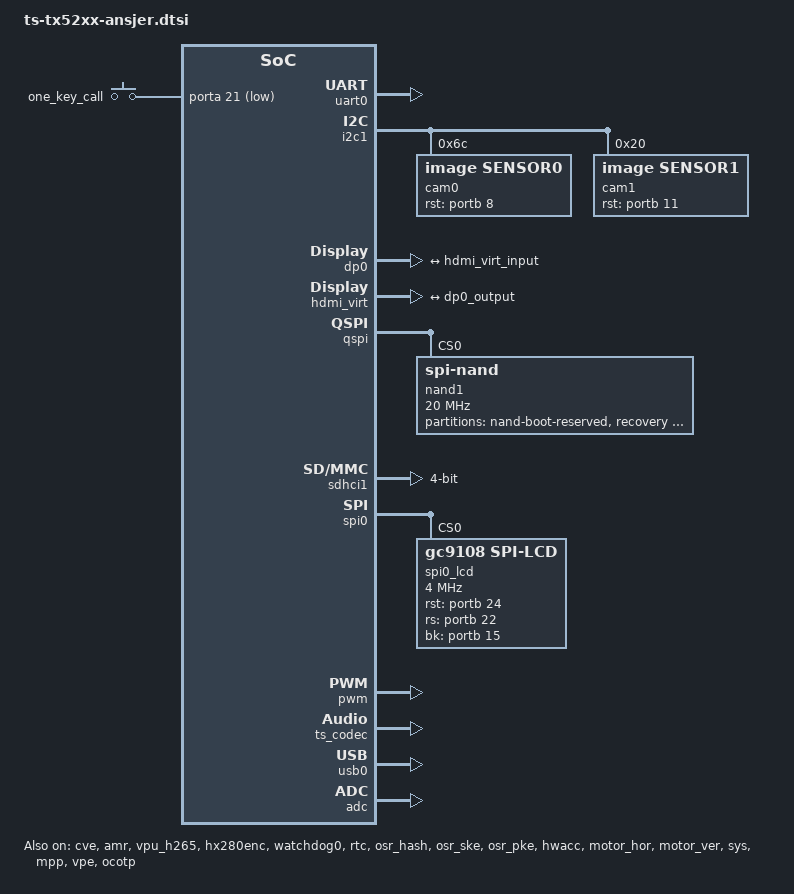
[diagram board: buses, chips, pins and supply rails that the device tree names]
/*
 * dts file for tsingmicro tx511 haps
 *
 * Copyright 2022 Tsingmicro, Inc.
 *
 * This program is free software; you can redistribute it and/or
 * modify it under the terms of the GNU General Public License as
 * published by the Free Software Foundation; either version 2 of
 * the License, or (at your option) any later version.
 */

#include "ts-tx5215.dtsi"
#include "ts-tx5215-clk.dtsi"
#include "ts-tx5215-reset.dtsi"
#include "ts-tx52xx-ansjer-pinctrl.dtsi"

/ {
	chosen {
		/*bootargs = "console=ttyS0,115200n8 initrd=0xc4000000,4M init=/linuxrc
		 * root=/dev/ram0 rw rootfstype=ext4 rootwait ignore_loglevel earlycon";
		 */
		bootargs = "console=ttyS0,115200n8 earlycon";
		/*bootargs = "console=ttyS0,115200n8 ignore_loglevel";
		 *bootargs = "root=/dev/ram0 rw ramdisk=8192 initrd=0x41000000,8M
		 *console=ttyS0,115200n8 init=/linuxrc";
		 */
		stdout-path = "serial0:115200";
	};

       gpio-keys {
                compatible = "gpio-keys";
                pinctrl-names = "default","default";
               /* pinctrl-0 = <&gpioa7_pinctrl>; */
                pinctrl-0 = <&gpioa21_pinctrl>;
/*
                FACTORY {
                        label = "factory_rst";
                        gpios = <&porta 7 GPIO_ACTIVE_LOW>;
                        linux,code = <0x198>;
                        gpio-key,wakeup;
                        debounce-interval = <10>;
                };
*/
                ONE_KEY_CALL {
                        label = "one_key_call";
                        gpios = <&porta 21 GPIO_ACTIVE_LOW>;
                        linux,code = <0x194>;
                        gpio-key,wakeup;
                        debounce-interval = <10>;
                };
        };



};

&uart0 {
	status = "okay";
};

&uart1 {
	pinctrl-names = "default";
	// pinctrl-0 = <&uart1_pinctrl>;
	status = "disabled";
};

&uart2 {
	pinctrl-names = "default";
	// pinctrl-0 = <&uart2_pinctrl_0>;
	status = "disabled";
};

&usart0 {
	status = "disabled";
};

&usart1 {
	status = "disabled";
};

&rne_dma {
	status = "okay";
};

&i2c0 {
	status = "disabled";
};

&i2c1 {
	status = "okay";
	pinctrl-names = "default";
	pinctrl-0 = <&i2c1_pinctrl_1>;
	//i2c-sda-hold-time-ns = <600>;

	cam0: imgsensor0@20 {
		compatible = "image,sensor0";
		reg = <0x6c>;

		pinctrl-names = "default", "default";
		pinctrl-0 = <&gpiob8_pinctrl>;
		pinctrl-1 = <&chip_out0_pinctrl>;
		rst-gpios = <&portb 8 GPIO_ACTIVE_HIGH>;

		clocks = <&mclk>;
		clock-names = "mclk";
		mclk-freq = <24000000>;
	};

       cam1: imgsensor1@20 {
                compatible = "image,sensor1";
                reg = <0x20>;

                pinctrl-names = "default", "default";
                pinctrl-0 = <&gpiob11_pinctrl>;
                rst-gpios = <&portb 11 GPIO_ACTIVE_HIGH>;

                clocks = <&mclk>;
                clock-names = "mclk";
                mclk-freq = <24000000>;
        };

	
};

&i2c2 {
	status = "disabled";
	pinctrl-names = "default";
	//pinctrl-0 = <&i2c2_pinctrl_1>;
	//i2c-sda-hold-time-ns = <600>;
	//i2c-sda-falling-time-ns = <600>;
	//i2c-scl-falling-time-ns = <400>;
};

&i2c3 {
	status = "disabled";
};

&ui2c0 {
	status = "disabled";
};

&ui2c1 {
	status = "disabled";
};

/*
&gpio0 {
	pinctrl-names = "default";
	pinctrl-0 = <&ir_cut_gpio_pinctrl>;
	status = "okay";
};
*/
&dp0 {
	status = "okay";
	port {
		dp0_output: endpoint {
			remote-endpoint = <&hdmi_virt_input>;
		};
	};
};

&hdmi_virt {
	status = "okay";
	ports {
		port {
			#address-cells = <1>;
			#size-cells = <0>;

			hdmi_virt_input: endpoint@0 {
				reg = <0>;
				remote-endpoint = <&dp0_output>;
			};
		};
	};
};

&cve {
	status = "okay";
};

&can0 {
	status = "disabled";
	pinctrl-names = "default";
	pinctrl-0 = <&can0_pinctrl_0 &can0_pinctrl_1>;
};

&can1 {
	status = "disabled";
	pinctrl-names = "default";
	pinctrl-0 = <&can1_pinctrl_0 &can1_pinctrl_1>;
};

&amr {
	status = "okay";
};

&vpu_h265 {
	status = "okay";
};

&hx280enc {
	status = "okay";
};

&qspi {
	status = "okay";
	page-size = <256>;
	block-size = <16>;
	#address-cells = <1>;
	#size-cells = <0>;

#if 1
	nand1:spi-nand@0 {
		status = "okay";
		compatible = "spi-nand";
		reg = <0>; /* CS0 */
		//spi-max-frequency = <40000000>;
		spi-max-frequency = <20000000>;
		page-size = <2048>;
		block-size = <131072>;
		spi-rx-bus-width = <4>;
		spi-tx-bus-width = <4>;
		cdns,read-delay = <0>;
		cdns,tshsl-ns = <0>;
		cdns,tsd2d-ns = <0>;
		cdns,tchsh-ns = <0>;
		cdns,tslch-ns = <0>;
		partitions {
			compatible = "fixed-partitions";
			#address-cells = <1>;
			#size-cells = <1>;

			/* reserved for future boot direct from NAND flash
			 * (this would use the same layout as the 8MiB NOR flash)
			 */
			partition@0 {
				label = "nand-boot-reserved";
				reg = <0 0x800000>;
			};

			/* recovery / install environment */
			partition@800000 {
				label = "recovery";
				reg = <0x800000 0x2000000>;
			};

			/* ubia (first OpenWrt) - a/b names to prevent confusion with ubi0/1/etc. */
			partition@2800000 {
				label = "ubia";
				reg = <0x2800000 0x3C00000>;
			};
#if 0
			/* ubib (second OpenWrt) */
			partition@6400000 {
				label = "ubib";
				reg = <0x6400000 0x3C00000>;
			};
#endif
		};
	};

#else

	flash0: giga0@0 {
		reg = <0>; /* CS0 */
		cdns,read-delay = <2>;
		cdns,tshsl-ns = <40>;
		cdns,tsd2d-ns = <50>;
		cdns,tchsh-ns = <3>;
		cdns,tslch-ns = <4>;
		spi-max-frequency = <51200000>;
		#address-cells = <1>;
		#size-cells = <1>;
	};
#endif
};

&sdhci0 {
	/* qspi and sdhci0 cannot coexist */
	/*status = "okay";*/
	status = "disabled";
	//pinctrl-names = "default";
	//pinctrl-0 = <&emmc0_pinctrl>;
};

&sdhci1 {
	status = "okay";
	max-frequency = <25000000>;
	no-1-8-v;
	bus-width = <4>;
	cap-sd-highspeed;
	pinctrl-names = "default";
	pinctrl-0 = <&mshc1_pinctrl &emmc1_pinctrl &sd_pwr_pinctrl>;
	card-detect-delay = <200>;
	sdpwr-gpios = <&porta 24 GPIO_ACTIVE_HIGH>;
};


&spi0 {
	status = "okay";
	#address-cells = <1>;
	#size-cells = <0>;
	pinctrl-names = "default";
	pinctrl-0 = <&spi0_pinctrl &spi_lcd_rs_pinctrl &spi_lcd_rst_pinctrl  &gpiob15_pinctrl>;
	//cs-gpios = <&portb 19 GPIO_ACTIVE_LOW>;
	spi0_lcd: gc9108@0 {
	compatible = "gc9108,spi-lcd";
	spi-max-frequency = <4000000>;
   	rst-gpios = <&portb 24 GPIO_ACTIVE_HIGH>;
	rs-gpios = <&portb 22 GPIO_ACTIVE_HIGH>; 
	bk-gpios = <&portb 15 GPIO_ACTIVE_HIGH>;

	//#address-cells = <1>;
	//#size-cells = <1>;
	reg = <0>;
	};	
	
};

&watchdog0 {
	status = "okay";
};

&pwm {
	status = "okay";
};

&rtc {
	status = "okay";
};

&osr_hash {
	status = "okay";
};

&osr_ske {
	status = "okay";
};

&osr_pke {
	status = "okay";
};

&pinctrl {
	status = "okay";
	pinctrl-names = "default";
	pinctrl-0 = <&ir0_led_cut_pinctrl>;
};

&hwacc {
	status = "okay";
};

&dwahbdma0 {
	status = "okay";
};

&dwahbdma1 {
	status = "okay";
};

&dw_axi_dmac {
	status = "okay";
};

&motor_hor {
	status = "okay";
	pinctrl-names = "default";
	pinctrl-0 = <&motor_pinctrl0>;
	motor1-gpios = <&porta 0 GPIO_ACTIVE_HIGH>;
	motor2-gpios = <&porta 8 GPIO_ACTIVE_HIGH>;
	motor3-gpios = <&porta 6 GPIO_ACTIVE_HIGH>;
	motor4-gpios = <&porta 4 GPIO_ACTIVE_HIGH>;
};

&motor_ver {
	status = "okay";
	pinctrl-names = "default";
	pinctrl-0 = <&motor_pinctrl1>;
	motor1-gpios = <&porta 5 GPIO_ACTIVE_HIGH>;
	motor2-gpios = <&porta 1 GPIO_ACTIVE_HIGH>;
	motor3-gpios = <&porta 3 GPIO_ACTIVE_HIGH>;
	motor4-gpios = <&porta 2 GPIO_ACTIVE_HIGH>;
};

&pdmic {
	pinctrl-names = "default";
	pinctrl-0 = <&pdmic_pinctrl_0>;
	ts,model = "PDMIC @ tsm-tx5215-fpga";
	ts,mic-min-freq = <1024000>;
	ts,mic-max-freq = <3072000>;
	ts,mic-offset = <0x0>;
	status = "disabled";
	dmas = <&dwahbdma1 0x6 1 0>;
	dma-names = "rx";
};

&ts_codec {
	status = "okay";
	ts,model = "ts-codec";
	dmas = <&dwahbdma1 0xe 1 1 &dwahbdma1 0xd 1 0>;
	dma-names = "tx","rx";
	pinctrl-names = "default";
	pinctrl-0 = <&gpioa9_pinctrl>;
	speaker-gpios = <&porta 9 GPIO_ACTIVE_LOW>;
};

&sys {
	status = "okay";
};

&mpp {
	status = "okay";
};

&vpe {
	status = "okay";
};

&usb0 {
	status = "okay";
	//pinctrl-names = "default";
	//pinctrl-0 = <&usb_pinctrl>;
	//drvvbus-gpios  = <&portb 11 GPIO_ACTIVE_HIGH>;
};

&ocotp {
	status = "okay";
};

&adc {
	status = "okay";
};
